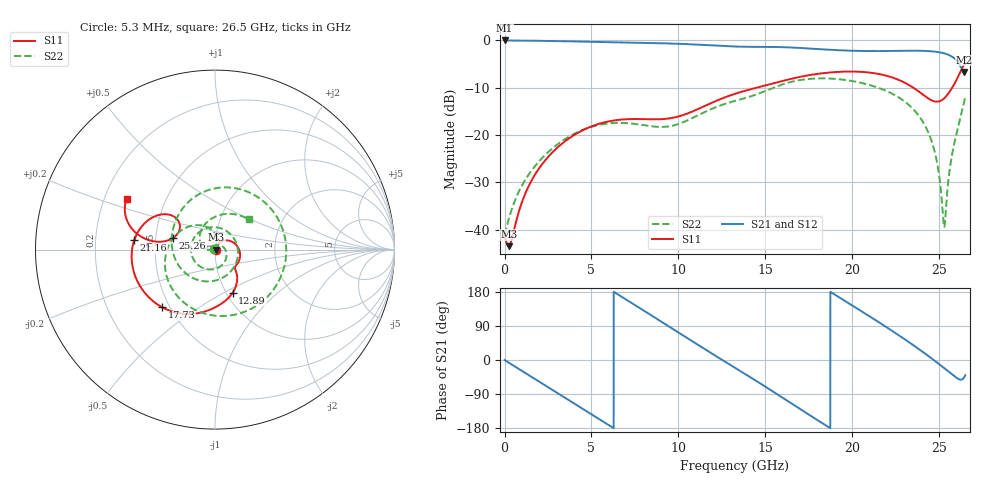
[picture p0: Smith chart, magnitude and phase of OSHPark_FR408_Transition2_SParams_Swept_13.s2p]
! TOUCHSTONE file generated by CST MICROWAVE STUDIO
! Date and time: Tue Jan  7 09:43:21 2020
! Project name: OSHPark_FR408_Transition2.cst
! Parameters = {GND_Plane_XMax=12.75; Cap_Disk_XOffset=0; Cap_Disk2_YCenter=-1.03; Cap_Disk_YCenter=1.03; Cap_Disk_XCenter=7.39; Cap_Disk_Radius=0.5; BottomSupport_Left_YMax=4.76; BottomSupport_Left_YMin=3.74; BottomSupport_Right_YMax=-3.74; BottomSupport_Right_YMin=-4.76; BottomSupport_XMax=11.64; 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
! Header version: 2015
! Port assignment regex: !\s*Touchstone port\s*([0-9]+)\s*=\s*CST MWS port\s*([0-9]+)\s*\(\"(.*)\"\)(\s*mode\s*([0-9]+))?.*
! Touchstone port assignment:
! Touchstone port 1 = CST MWS port 1 ("")
! Touchstone port 2 = CST MWS port 2 ("")
# GHz S MA R 50
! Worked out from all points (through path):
!   5000 points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, 5.3 MHz to 26.5 GHz, reference 50 ohm
!   highest |S21| = 0.00 dB at 5.3 MHz (marker M1); lowest = -6.7 dB at 26.43 GHz (marker M2)
!   group delay of S21, straight-line fit = 80.8 ps
!   lowest |S11| = -43.5 dB at 238.5 MHz (marker M3), VSWR 1.01, Z = 50.7 + j0.00918 ohm
!   |S11| at or under -10 dB: start of sweep to 14.49 GHz; 23.51 GHz to 25.74 GHz (2.231 GHz wide, 9.06 % of centre)
!   |S22| runs from -41.1 to -8.0 dB; largest |S21 - S12| = 0
!   S11 on the Smith chart (normalised r, x): 5.3 MHz: 1.01, -0.01; 12.89 GHz: 1.07, -0.55; 17.73 GHz: 0.46, -0.36; 21.16 GHz: 0.38, +0.05; 25.26 GHz: 0.62, +0.08; 26.5 GHz: 0.29, +0.25
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0.0053  0.00847 -34.5  1 -0.2  1 -0.2  0.008842 142.2
0.2385  0.006678 0.8  0.9993 -6.9  0.9993 -6.9  0.01283 113.7
1.2667  0.02581 61.7  0.9953 -36.4  0.9953 -36.4  0.0353 45.0
2.4645  0.05746 51.7  0.9884 -70.8  0.9884 -70.8  0.06477 -14.0
4.4255  0.1105 20.5  0.9726 -127.0  0.9726 -127.0  0.1119 -98.8
6.5508  0.1446 -15.4  0.9544 172.2  0.9544 172.2  0.1346 172.4
8.8404  0.1466 -40.0  0.9359 106.3  0.9359 106.3  0.122 58.1
11.1353  0.1887 -49.5  0.9028 39.7  0.9028 39.7  0.1622 -74.3
12.8896  0.259 -67.6  0.8683 -10.4  0.8683 -10.4  0.2196 -154.6
13.2553  0.273 -72.2  0.8628 -20.7  0.8628 -20.7  0.2297 -169.1
15.529  0.355 -101.1  0.8532 -85.9  0.8532 -85.9  0.3201 107.0
17.6702  0.4341 -131.6  0.8186 -149.2  0.8186 -149.2  0.3941 14.8
17.7285  0.4357 -132.5  0.8174 -150.9  0.8174 -150.9  0.3947 12.2
19.5358  0.4682 -160.7  0.7837 157.0  0.7837 157.0  0.3832 -65.4
21.1629  0.4531 173.4  0.7723 110.2  0.7723 110.2  0.3307 -131.3
22.0851  0.4175 159.2  0.7739 83.0  0.7739 83.0  0.2852 -167.6
24.3376  0.246 143.6  0.7726 11.7  0.7726 11.7  0.1096 99.1
24.857  0.2251 153.8  0.7569 -6.2  0.7569 -6.2  0.05284 77.6
25.2598  0.2424 164.5  0.732 -20.6  0.732 -20.6  0.01094 116.4
25.7421  0.317 172.1  0.6721 -38.3  0.6721 -38.3  0.06339 171.5
26.4311  0.5535 155.2  0.463 -45.2  0.463 -45.2  0.2263 60.3
26.5  0.5682 149.6  0.4791 -40.1  0.4791 -40.1  0.2544 40.2
